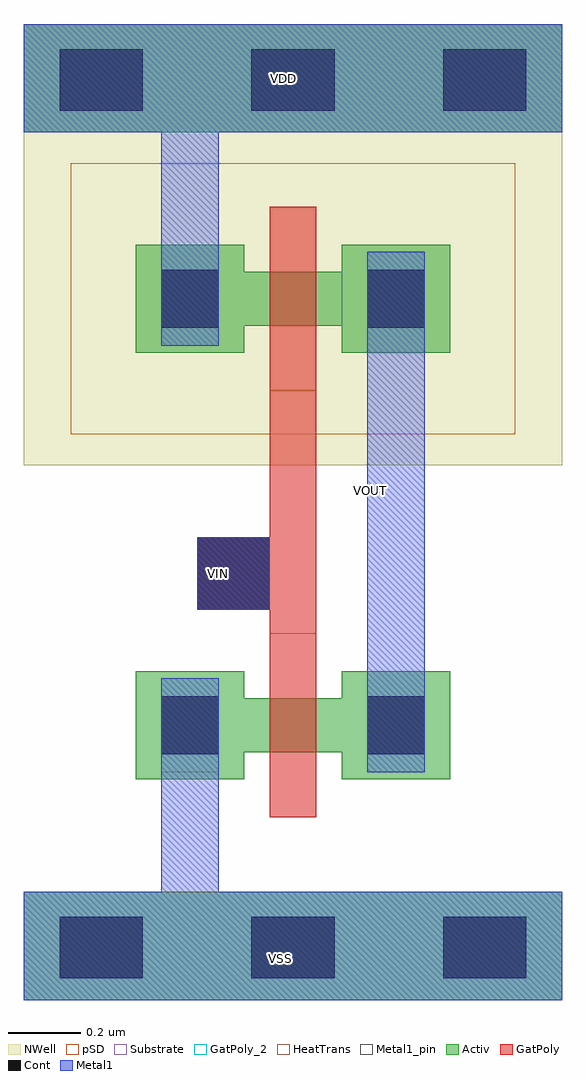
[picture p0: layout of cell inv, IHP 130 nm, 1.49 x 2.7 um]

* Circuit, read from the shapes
.subckt inv VDD VIN VOUT VSS
XM1 VOUT VIN VSS VSS sg13_lv_nmos w=0.15u l=0.13u
XM2 VOUT VIN VDD VDD sg13_lv_pmos w=0.15u l=0.13u
.ends

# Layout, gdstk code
import gdstk
lib = gdstk.Library(unit=1e-6, precision=5e-09)
def R(c, l, rs):  # rectangles x0, y0, x1, y1
    for r in rs: c.add(gdstk.rectangle(r[:2], r[2:], *l))
Activ = (1, 0)
GatPoly = (5, 0)
GatPoly_2 = (5, 2)
Cont = (6, 0)
Metal1 = (8, 0)
Metal1_pin = (8, 2)
pSD = (14, 0)
NWell = (31, 0)
Substrate = (40, 0)
HeatTrans = (51, 0)

pmos_1 = lib.new_cell('pmos$1')
R(pmos_1, Activ, [(0,0,0.3,0.3), (0.57,0,0.87,0.3), (0,0.075,0.87,0.225)])
R(pmos_1, GatPoly, [(0.37,-0.105,0.5,0.405), (0.37,-0.105,0.5,0.405)])
R(pmos_1, Cont, [(0.07,0.07,0.23,0.23), (0.64,0.07,0.8,0.23)])
R(pmos_1, Metal1, [(0.07,0.02,0.23,0.28), (0.07,0.02,0.23,0.28), (0.64,0.02,0.8,0.28), (0.64,0.02,0.8,0.28)])
R(pmos_1, pSD, [(-0.18,-0.225,1.05,0.525)])
R(pmos_1, NWell, [(-0.31,-0.31,1.18,0.61)])
R(pmos_1, Substrate, [(0.57,0,0.87,0.3)])
R(pmos_1, HeatTrans, [(0.37,-0.105,0.5,0.405)])
pmos_1.add(gdstk.Label('pmos', (0.435,0.15), layer=63, texttype=0))
pmos_1.add(gdstk.Label('pmos', (0.435,0.15), layer=51, texttype=0))

nmos = lib.new_cell('nmos')
R(nmos, Activ, [(0,0,0.3,0.3), (0.57,0,0.87,0.3), (0,0.075,0.87,0.225)])
R(nmos, GatPoly, [(0.37,-0.105,0.5,0.405)])
R(nmos, GatPoly_2, [(0.37,-0.105,0.5,0.405)])
R(nmos, Cont, [(0.07,0.07,0.23,0.23), (0.64,0.07,0.8,0.23)])
R(nmos, Metal1, [(0.07,0.02,0.23,0.28), (0.64,0.02,0.8,0.28)])
R(nmos, Metal1_pin, [(0.07,0.02,0.23,0.28), (0.64,0.02,0.8,0.28)])
R(nmos, HeatTrans, [(0.37,-0.105,0.5,0.405)])
nmos.add(gdstk.Label('nmos', (0.435,0.15), layer=63, texttype=0))
nmos.add(gdstk.Label('nmos', (0.435,0.15), layer=51, texttype=0))

pmos_1_1 = lib.new_cell('pmos$1$1')
R(pmos_1_1, Activ, [(0,0,0.3,0.3), (0.57,0,0.87,0.3), (0,0.075,0.87,0.225)])
R(pmos_1_1, GatPoly, [(0.37,-0.105,0.5,0.405), (0.37,-0.105,0.5,0.405)])
R(pmos_1_1, Cont, [(0.07,0.07,0.23,0.23), (0.64,0.07,0.8,0.23)])
R(pmos_1_1, Metal1, [(0.07,0.02,0.23,0.28), (0.07,0.02,0.23,0.28), (0.64,0.02,0.8,0.28), (0.64,0.02,0.8,0.28)])
R(pmos_1_1, pSD, [(-0.18,-0.225,1.05,0.525)])
R(pmos_1_1, NWell, [(-0.31,-0.31,1.18,0.61)])
R(pmos_1_1, Substrate, [(0.57,0,0.87,0.3)])
R(pmos_1_1, HeatTrans, [(0.37,-0.105,0.5,0.405)])
pmos_1_1.add(gdstk.Label('pmos', (0.435,0.15), layer=63, texttype=0))
pmos_1_1.add(gdstk.Label('pmos', (0.435,0.15), layer=51, texttype=0))

nmos_1 = lib.new_cell('nmos$1')
R(nmos_1, Activ, [(0,0,0.3,0.3), (0.57,0,0.87,0.3), (0,0.075,0.87,0.225)])
R(nmos_1, GatPoly, [(0.37,-0.105,0.5,0.405)])
R(nmos_1, GatPoly_2, [(0.37,-0.105,0.5,0.405)])
R(nmos_1, Cont, [(0.07,0.07,0.23,0.23), (0.64,0.07,0.8,0.23)])
R(nmos_1, Metal1, [(0.07,0.02,0.23,0.28), (0.64,0.02,0.8,0.28)])
R(nmos_1, Metal1_pin, [(0.07,0.02,0.23,0.28), (0.64,0.02,0.8,0.28)])
R(nmos_1, HeatTrans, [(0.37,-0.105,0.5,0.405)])
nmos_1.add(gdstk.Label('nmos', (0.435,0.15), layer=63, texttype=0))
nmos_1.add(gdstk.Label('nmos', (0.435,0.15), layer=51, texttype=0))

pmos_1_2 = lib.new_cell('pmos$1$2')
R(pmos_1_2, Activ, [(0,0,0.3,0.3), (0.57,0,0.87,0.3), (0,0.075,0.87,0.225)])
R(pmos_1_2, GatPoly, [(0.37,-0.105,0.5,0.405), (0.37,-0.105,0.5,0.405)])
R(pmos_1_2, Cont, [(0.07,0.07,0.23,0.23), (0.64,0.07,0.8,0.23)])
R(pmos_1_2, Metal1, [(0.07,0.02,0.23,0.28), (0.07,0.02,0.23,0.28), (0.64,0.02,0.8,0.28), (0.64,0.02,0.8,0.28)])
R(pmos_1_2, pSD, [(-0.18,-0.225,1.05,0.525)])
R(pmos_1_2, NWell, [(-0.31,-0.31,1.18,0.61)])
R(pmos_1_2, Substrate, [(0.57,0,0.87,0.3)])
R(pmos_1_2, HeatTrans, [(0.37,-0.105,0.5,0.405)])
pmos_1_2.add(gdstk.Label('pmos', (0.435,0.15), layer=63, texttype=0))
pmos_1_2.add(gdstk.Label('pmos', (0.435,0.15), layer=51, texttype=0))

nmos_2 = lib.new_cell('nmos$2')
R(nmos_2, Activ, [(0,0,0.3,0.3), (0.57,0,0.87,0.3), (0,0.075,0.87,0.225)])
R(nmos_2, GatPoly, [(0.37,-0.105,0.5,0.405)])
R(nmos_2, GatPoly_2, [(0.37,-0.105,0.5,0.405)])
R(nmos_2, Cont, [(0.07,0.07,0.23,0.23), (0.64,0.07,0.8,0.23)])
R(nmos_2, Metal1, [(0.07,0.02,0.23,0.28), (0.64,0.02,0.8,0.28)])
R(nmos_2, Metal1_pin, [(0.07,0.02,0.23,0.28), (0.64,0.02,0.8,0.28)])
R(nmos_2, HeatTrans, [(0.37,-0.105,0.5,0.405)])
nmos_2.add(gdstk.Label('nmos', (0.435,0.15), layer=63, texttype=0))
nmos_2.add(gdstk.Label('nmos', (0.435,0.15), layer=51, texttype=0))

pmos_1_1_1 = lib.new_cell('pmos$1$1$1')
R(pmos_1_1_1, Activ, [(0,0,0.3,0.3), (0.57,0,0.87,0.3), (0,0.075,0.87,0.225)])
R(pmos_1_1_1, GatPoly, [(0.37,-0.105,0.5,0.405), (0.37,-0.105,0.5,0.405)])
R(pmos_1_1_1, Cont, [(0.07,0.07,0.23,0.23), (0.64,0.07,0.8,0.23)])
R(pmos_1_1_1, Metal1, [(0.07,0.02,0.23,0.28), (0.07,0.02,0.23,0.28), (0.64,0.02,0.8,0.28), (0.64,0.02,0.8,0.28)])
R(pmos_1_1_1, pSD, [(-0.18,-0.225,1.05,0.525)])
R(pmos_1_1_1, NWell, [(-0.31,-0.31,1.18,0.61)])
R(pmos_1_1_1, Substrate, [(0.57,0,0.87,0.3)])
R(pmos_1_1_1, HeatTrans, [(0.37,-0.105,0.5,0.405)])
pmos_1_1_1.add(gdstk.Label('pmos', (0.435,0.15), layer=63, texttype=0))
pmos_1_1_1.add(gdstk.Label('pmos', (0.435,0.15), layer=51, texttype=0))

nmos_1_1 = lib.new_cell('nmos$1$1')
R(nmos_1_1, Activ, [(0,0,0.3,0.3), (0.57,0,0.87,0.3), (0,0.075,0.87,0.225)])
R(nmos_1_1, GatPoly, [(0.37,-0.105,0.5,0.405)])
R(nmos_1_1, GatPoly_2, [(0.37,-0.105,0.5,0.405)])
R(nmos_1_1, Cont, [(0.07,0.07,0.23,0.23), (0.64,0.07,0.8,0.23)])
R(nmos_1_1, Metal1, [(0.07,0.02,0.23,0.28), (0.64,0.02,0.8,0.28)])
R(nmos_1_1, Metal1_pin, [(0.07,0.02,0.23,0.28), (0.64,0.02,0.8,0.28)])
R(nmos_1_1, HeatTrans, [(0.37,-0.105,0.5,0.405)])
nmos_1_1.add(gdstk.Label('nmos', (0.435,0.15), layer=63, texttype=0))
nmos_1_1.add(gdstk.Label('nmos', (0.435,0.15), layer=51, texttype=0))

pmos_1_4 = lib.new_cell('pmos$1$4')
R(pmos_1_4, Activ, [(0,0,0.3,0.3), (0.57,0,0.87,0.3), (0,0.075,0.87,0.225)])
R(pmos_1_4, GatPoly, [(0.37,-0.105,0.5,0.405), (0.37,-0.105,0.5,0.405)])
R(pmos_1_4, Cont, [(0.07,0.07,0.23,0.23), (0.64,0.07,0.8,0.23)])
R(pmos_1_4, Metal1, [(0.07,0.02,0.23,0.28), (0.07,0.02,0.23,0.28), (0.64,0.02,0.8,0.28), (0.64,0.02,0.8,0.28)])
R(pmos_1_4, pSD, [(-0.18,-0.225,1.05,0.525)])
R(pmos_1_4, NWell, [(-0.31,-0.31,1.18,0.61)])
R(pmos_1_4, Substrate, [(0.57,0,0.87,0.3)])
R(pmos_1_4, HeatTrans, [(0.37,-0.105,0.5,0.405)])
pmos_1_4.add(gdstk.Label('pmos', (0.435,0.15), layer=63, texttype=0))
pmos_1_4.add(gdstk.Label('pmos', (0.435,0.15), layer=51, texttype=0))

nmos_4 = lib.new_cell('nmos$4')
R(nmos_4, Activ, [(0,0,0.3,0.3), (0.57,0,0.87,0.3), (0,0.075,0.87,0.225)])
R(nmos_4, GatPoly, [(0.37,-0.105,0.5,0.405)])
R(nmos_4, GatPoly_2, [(0.37,-0.105,0.5,0.405)])
R(nmos_4, Cont, [(0.07,0.07,0.23,0.23), (0.64,0.07,0.8,0.23)])
R(nmos_4, Metal1, [(0.07,0.02,0.23,0.28), (0.64,0.02,0.8,0.28)])
R(nmos_4, Metal1_pin, [(0.07,0.02,0.23,0.28), (0.64,0.02,0.8,0.28)])
R(nmos_4, HeatTrans, [(0.37,-0.105,0.5,0.405)])
nmos_4.add(gdstk.Label('nmos', (0.435,0.15), layer=63, texttype=0))
nmos_4.add(gdstk.Label('nmos', (0.435,0.15), layer=51, texttype=0))

pmos_1_1_2 = lib.new_cell('pmos$1$1$2')
R(pmos_1_1_2, Activ, [(0,0,0.3,0.3), (0.57,0,0.87,0.3), (0,0.075,0.87,0.225)])
R(pmos_1_1_2, GatPoly, [(0.37,-0.105,0.5,0.405), (0.37,-0.105,0.5,0.405)])
R(pmos_1_1_2, Cont, [(0.07,0.07,0.23,0.23), (0.64,0.07,0.8,0.23)])
R(pmos_1_1_2, Metal1, [(0.07,0.02,0.23,0.28), (0.07,0.02,0.23,0.28), (0.64,0.02,0.8,0.28), (0.64,0.02,0.8,0.28)])
R(pmos_1_1_2, pSD, [(-0.18,-0.225,1.05,0.525)])
R(pmos_1_1_2, NWell, [(-0.31,-0.31,1.18,0.61)])
R(pmos_1_1_2, Substrate, [(0.57,0,0.87,0.3)])
R(pmos_1_1_2, HeatTrans, [(0.37,-0.105,0.5,0.405)])
pmos_1_1_2.add(gdstk.Label('pmos', (0.435,0.15), layer=63, texttype=0))
pmos_1_1_2.add(gdstk.Label('pmos', (0.435,0.15), layer=51, texttype=0))

nmos_1_2 = lib.new_cell('nmos$1$2')
R(nmos_1_2, Activ, [(0,0,0.3,0.3), (0.57,0,0.87,0.3), (0,0.075,0.87,0.225)])
R(nmos_1_2, GatPoly, [(0.37,-0.105,0.5,0.405)])
R(nmos_1_2, GatPoly_2, [(0.37,-0.105,0.5,0.405)])
R(nmos_1_2, Cont, [(0.07,0.07,0.23,0.23), (0.64,0.07,0.8,0.23)])
R(nmos_1_2, Metal1, [(0.07,0.02,0.23,0.28), (0.64,0.02,0.8,0.28)])
R(nmos_1_2, Metal1_pin, [(0.07,0.02,0.23,0.28), (0.64,0.02,0.8,0.28)])
R(nmos_1_2, HeatTrans, [(0.37,-0.105,0.5,0.405)])
nmos_1_2.add(gdstk.Label('nmos', (0.435,0.15), layer=63, texttype=0))
nmos_1_2.add(gdstk.Label('nmos', (0.435,0.15), layer=51, texttype=0))

pmos_1_2_1 = lib.new_cell('pmos$1$2$1')
R(pmos_1_2_1, Activ, [(0,0,0.3,0.3), (0.57,0,0.87,0.3), (0,0.075,0.87,0.225)])
R(pmos_1_2_1, GatPoly, [(0.37,-0.105,0.5,0.405), (0.37,-0.105,0.5,0.405)])
R(pmos_1_2_1, Cont, [(0.07,0.07,0.23,0.23), (0.64,0.07,0.8,0.23)])
R(pmos_1_2_1, Metal1, [(0.07,0.02,0.23,0.28), (0.07,0.02,0.23,0.28), (0.64,0.02,0.8,0.28), (0.64,0.02,0.8,0.28)])
R(pmos_1_2_1, pSD, [(-0.18,-0.225,1.05,0.525)])
R(pmos_1_2_1, NWell, [(-0.31,-0.31,1.18,0.61)])
R(pmos_1_2_1, Substrate, [(0.57,0,0.87,0.3)])
R(pmos_1_2_1, HeatTrans, [(0.37,-0.105,0.5,0.405)])
pmos_1_2_1.add(gdstk.Label('pmos', (0.435,0.15), layer=63, texttype=0))
pmos_1_2_1.add(gdstk.Label('pmos', (0.435,0.15), layer=51, texttype=0))

nmos_2_1 = lib.new_cell('nmos$2$1')
R(nmos_2_1, Activ, [(0,0,0.3,0.3), (0.57,0,0.87,0.3), (0,0.075,0.87,0.225)])
R(nmos_2_1, GatPoly, [(0.37,-0.105,0.5,0.405)])
R(nmos_2_1, GatPoly_2, [(0.37,-0.105,0.5,0.405)])
R(nmos_2_1, Cont, [(0.07,0.07,0.23,0.23), (0.64,0.07,0.8,0.23)])
R(nmos_2_1, Metal1, [(0.07,0.02,0.23,0.28), (0.64,0.02,0.8,0.28)])
R(nmos_2_1, Metal1_pin, [(0.07,0.02,0.23,0.28), (0.64,0.02,0.8,0.28)])
R(nmos_2_1, HeatTrans, [(0.37,-0.105,0.5,0.405)])
nmos_2_1.add(gdstk.Label('nmos', (0.435,0.15), layer=63, texttype=0))
nmos_2_1.add(gdstk.Label('nmos', (0.435,0.15), layer=51, texttype=0))

pmos_1_3 = lib.new_cell('pmos$1$3')
R(pmos_1_3, Activ, [(0,0,0.3,0.3), (0.57,0,0.87,0.3), (0,0.075,0.87,0.225)])
R(pmos_1_3, GatPoly, [(0.37,-0.105,0.5,0.405), (0.37,-0.105,0.5,0.405)])
R(pmos_1_3, Cont, [(0.07,0.07,0.23,0.23), (0.64,0.07,0.8,0.23)])
R(pmos_1_3, Metal1, [(0.07,0.02,0.23,0.28), (0.07,0.02,0.23,0.28), (0.64,0.02,0.8,0.28), (0.64,0.02,0.8,0.28)])
R(pmos_1_3, pSD, [(-0.18,-0.225,1.05,0.525)])
R(pmos_1_3, NWell, [(-0.31,-0.31,1.18,0.61)])
R(pmos_1_3, Substrate, [(0.57,0,0.87,0.3)])
R(pmos_1_3, HeatTrans, [(0.37,-0.105,0.5,0.405)])
pmos_1_3.add(gdstk.Label('pmos', (0.435,0.15), layer=63, texttype=0))
pmos_1_3.add(gdstk.Label('pmos', (0.435,0.15), layer=51, texttype=0))

nmos_3 = lib.new_cell('nmos$3')
R(nmos_3, Activ, [(0,0,0.3,0.3), (0.57,0,0.87,0.3), (0,0.075,0.87,0.225)])
R(nmos_3, GatPoly, [(0.37,-0.105,0.5,0.405)])
R(nmos_3, GatPoly_2, [(0.37,-0.105,0.5,0.405)])
R(nmos_3, Cont, [(0.07,0.07,0.23,0.23), (0.64,0.07,0.8,0.23)])
R(nmos_3, Metal1, [(0.07,0.02,0.23,0.28), (0.64,0.02,0.8,0.28)])
R(nmos_3, Metal1_pin, [(0.07,0.02,0.23,0.28), (0.64,0.02,0.8,0.28)])
R(nmos_3, HeatTrans, [(0.37,-0.105,0.5,0.405)])
nmos_3.add(gdstk.Label('nmos', (0.435,0.15), layer=63, texttype=0))
nmos_3.add(gdstk.Label('nmos', (0.435,0.15), layer=51, texttype=0))

pmos_1_5 = lib.new_cell('pmos$1$5')
R(pmos_1_5, Activ, [(0,0,0.3,0.3), (0.57,0,0.87,0.3), (0,0.075,0.87,0.225)])
R(pmos_1_5, GatPoly, [(0.37,-0.105,0.5,0.405), (0.37,-0.105,0.5,0.405)])
R(pmos_1_5, Cont, [(0.07,0.07,0.23,0.23), (0.64,0.07,0.8,0.23)])
R(pmos_1_5, Metal1, [(0.07,0.02,0.23,0.28), (0.07,0.02,0.23,0.28), (0.64,0.02,0.8,0.28), (0.64,0.02,0.8,0.28)])
R(pmos_1_5, pSD, [(-0.18,-0.225,1.05,0.525)])
R(pmos_1_5, NWell, [(-0.31,-0.31,1.18,0.61)])
R(pmos_1_5, Substrate, [(0.57,0,0.87,0.3)])
R(pmos_1_5, HeatTrans, [(0.37,-0.105,0.5,0.405)])
pmos_1_5.add(gdstk.Label('pmos', (0.435,0.15), layer=63, texttype=0))
pmos_1_5.add(gdstk.Label('pmos', (0.435,0.15), layer=51, texttype=0))

nmos_1_3 = lib.new_cell('nmos$1$3')
R(nmos_1_3, Activ, [(0,0,0.3,0.3), (0.57,0,0.87,0.3), (0,0.075,0.87,0.225)])
R(nmos_1_3, GatPoly, [(0.37,-0.105,0.5,0.405)])
R(nmos_1_3, GatPoly_2, [(0.37,-0.105,0.5,0.405)])
R(nmos_1_3, Cont, [(0.07,0.07,0.23,0.23), (0.64,0.07,0.8,0.23)])
R(nmos_1_3, Metal1, [(0.07,0.02,0.23,0.28), (0.64,0.02,0.8,0.28)])
R(nmos_1_3, Metal1_pin, [(0.07,0.02,0.23,0.28), (0.64,0.02,0.8,0.28)])
R(nmos_1_3, HeatTrans, [(0.37,-0.105,0.5,0.405)])
nmos_1_3.add(gdstk.Label('nmos', (0.435,0.15), layer=63, texttype=0))
nmos_1_3.add(gdstk.Label('nmos', (0.435,0.15), layer=51, texttype=0))

pmos_1_6 = lib.new_cell('pmos$1$6')
R(pmos_1_6, Activ, [(0,0,0.3,0.3), (0.57,0,0.87,0.3), (0,0.075,0.87,0.225)])
R(pmos_1_6, GatPoly, [(0.37,-0.105,0.5,0.405), (0.37,-0.105,0.5,0.405)])
R(pmos_1_6, Cont, [(0.07,0.07,0.23,0.23), (0.64,0.07,0.8,0.23)])
R(pmos_1_6, Metal1, [(0.07,0.02,0.23,0.28), (0.07,0.02,0.23,0.28), (0.64,0.02,0.8,0.28), (0.64,0.02,0.8,0.28)])
R(pmos_1_6, pSD, [(-0.18,-0.225,1.05,0.525)])
R(pmos_1_6, NWell, [(-0.31,-0.31,1.18,0.61)])
R(pmos_1_6, Substrate, [(0.57,0,0.87,0.3)])
R(pmos_1_6, HeatTrans, [(0.37,-0.105,0.5,0.405)])
pmos_1_6.add(gdstk.Label('pmos', (0.435,0.15), layer=63, texttype=0))
pmos_1_6.add(gdstk.Label('pmos', (0.435,0.15), layer=51, texttype=0))

nmos_5 = lib.new_cell('nmos$5')
R(nmos_5, Activ, [(0,0,0.3,0.3), (0.57,0,0.87,0.3), (0,0.075,0.87,0.225)])
R(nmos_5, GatPoly, [(0.37,-0.105,0.5,0.405)])
R(nmos_5, GatPoly_2, [(0.37,-0.105,0.5,0.405)])
R(nmos_5, Cont, [(0.07,0.07,0.23,0.23), (0.64,0.07,0.8,0.23)])
R(nmos_5, Metal1, [(0.07,0.02,0.23,0.28), (0.64,0.02,0.8,0.28)])
R(nmos_5, Metal1_pin, [(0.07,0.02,0.23,0.28), (0.64,0.02,0.8,0.28)])
R(nmos_5, HeatTrans, [(0.37,-0.105,0.5,0.405)])
nmos_5.add(gdstk.Label('nmos', (0.435,0.15), layer=63, texttype=0))
nmos_5.add(gdstk.Label('nmos', (0.435,0.15), layer=51, texttype=0))

pmos_1_7 = lib.new_cell('pmos$1$7')
R(pmos_1_7, Activ, [(0,0,0.3,0.3), (0.57,0,0.87,0.3), (0,0.075,0.87,0.225)])
R(pmos_1_7, GatPoly, [(0.37,-0.105,0.5,0.405), (0.37,-0.105,0.5,0.405)])
R(pmos_1_7, Cont, [(0.07,0.07,0.23,0.23), (0.64,0.07,0.8,0.23)])
R(pmos_1_7, Metal1, [(0.07,0.02,0.23,0.28), (0.07,0.02,0.23,0.28), (0.64,0.02,0.8,0.28), (0.64,0.02,0.8,0.28)])
R(pmos_1_7, pSD, [(-0.18,-0.225,1.05,0.525)])
R(pmos_1_7, NWell, [(-0.31,-0.31,1.18,0.61)])
R(pmos_1_7, Substrate, [(0.57,0,0.87,0.3)])
R(pmos_1_7, HeatTrans, [(0.37,-0.105,0.5,0.405)])
pmos_1_7.add(gdstk.Label('pmos', (0.435,0.15), layer=63, texttype=0))
pmos_1_7.add(gdstk.Label('pmos', (0.435,0.15), layer=51, texttype=0))

nmos_6 = lib.new_cell('nmos$6')
R(nmos_6, Activ, [(0,0,0.3,0.3), (0.57,0,0.87,0.3), (0,0.075,0.87,0.225)])
R(nmos_6, GatPoly, [(0.37,-0.105,0.5,0.405)])
R(nmos_6, GatPoly_2, [(0.37,-0.105,0.5,0.405)])
R(nmos_6, Cont, [(0.07,0.07,0.23,0.23), (0.64,0.07,0.8,0.23)])
R(nmos_6, Metal1, [(0.07,0.02,0.23,0.28), (0.64,0.02,0.8,0.28)])
R(nmos_6, Metal1_pin, [(0.07,0.02,0.23,0.28), (0.64,0.02,0.8,0.28)])
R(nmos_6, HeatTrans, [(0.37,-0.105,0.5,0.405)])
nmos_6.add(gdstk.Label('nmos', (0.435,0.15), layer=63, texttype=0))
nmos_6.add(gdstk.Label('nmos', (0.435,0.15), layer=51, texttype=0))

pmos_1_1_3 = lib.new_cell('pmos$1$1$3')
R(pmos_1_1_3, Activ, [(0,0,0.3,0.3), (0.57,0,0.87,0.3), (0,0.075,0.87,0.225)])
R(pmos_1_1_3, GatPoly, [(0.37,-0.105,0.5,0.405), (0.37,-0.105,0.5,0.405)])
R(pmos_1_1_3, Cont, [(0.07,0.07,0.23,0.23), (0.64,0.07,0.8,0.23)])
R(pmos_1_1_3, Metal1, [(0.07,0.02,0.23,0.28), (0.07,0.02,0.23,0.28), (0.64,0.02,0.8,0.28), (0.64,0.02,0.8,0.28)])
R(pmos_1_1_3, pSD, [(-0.18,-0.225,1.05,0.525)])
R(pmos_1_1_3, NWell, [(-0.31,-0.31,1.18,0.61)])
R(pmos_1_1_3, Substrate, [(0.57,0,0.87,0.3)])
R(pmos_1_1_3, HeatTrans, [(0.37,-0.105,0.5,0.405)])
pmos_1_1_3.add(gdstk.Label('pmos', (0.435,0.15), layer=63, texttype=0))
pmos_1_1_3.add(gdstk.Label('pmos', (0.435,0.15), layer=51, texttype=0))

nmos_1_4 = lib.new_cell('nmos$1$4')
R(nmos_1_4, Activ, [(0,0,0.3,0.3), (0.57,0,0.87,0.3), (0,0.075,0.87,0.225)])
R(nmos_1_4, GatPoly, [(0.37,-0.105,0.5,0.405)])
R(nmos_1_4, GatPoly_2, [(0.37,-0.105,0.5,0.405)])
R(nmos_1_4, Cont, [(0.07,0.07,0.23,0.23), (0.64,0.07,0.8,0.23)])
R(nmos_1_4, Metal1, [(0.07,0.02,0.23,0.28), (0.64,0.02,0.8,0.28)])
R(nmos_1_4, Metal1_pin, [(0.07,0.02,0.23,0.28), (0.64,0.02,0.8,0.28)])
R(nmos_1_4, HeatTrans, [(0.37,-0.105,0.5,0.405)])
nmos_1_4.add(gdstk.Label('nmos', (0.435,0.15), layer=63, texttype=0))
nmos_1_4.add(gdstk.Label('nmos', (0.435,0.15), layer=51, texttype=0))

pmos_1_8 = lib.new_cell('pmos$1$8')
R(pmos_1_8, Activ, [(0,0,0.3,0.3), (0.57,0,0.87,0.3), (0,0.075,0.87,0.225)])
R(pmos_1_8, GatPoly, [(0.37,-0.105,0.5,0.405), (0.37,-0.105,0.5,0.405)])
R(pmos_1_8, Cont, [(0.07,0.07,0.23,0.23), (0.64,0.07,0.8,0.23)])
R(pmos_1_8, Metal1, [(0.07,0.02,0.23,0.28), (0.07,0.02,0.23,0.28), (0.64,0.02,0.8,0.28), (0.64,0.02,0.8,0.28)])
R(pmos_1_8, pSD, [(-0.18,-0.225,1.05,0.525)])
R(pmos_1_8, NWell, [(-0.31,-0.31,1.18,0.61)])
R(pmos_1_8, Substrate, [(0.57,0,0.87,0.3)])
R(pmos_1_8, HeatTrans, [(0.37,-0.105,0.5,0.405)])
pmos_1_8.add(gdstk.Label('pmos', (0.435,0.15), layer=63, texttype=0))
pmos_1_8.add(gdstk.Label('pmos', (0.435,0.15), layer=51, texttype=0))

nmos_7 = lib.new_cell('nmos$7')
R(nmos_7, Activ, [(0,0,0.3,0.3), (0.57,0,0.87,0.3), (0,0.075,0.87,0.225)])
R(nmos_7, GatPoly, [(0.37,-0.105,0.5,0.405)])
R(nmos_7, GatPoly_2, [(0.37,-0.105,0.5,0.405)])
R(nmos_7, Cont, [(0.07,0.07,0.23,0.23), (0.64,0.07,0.8,0.23)])
R(nmos_7, Metal1, [(0.07,0.02,0.23,0.28), (0.64,0.02,0.8,0.28)])
R(nmos_7, Metal1_pin, [(0.07,0.02,0.23,0.28), (0.64,0.02,0.8,0.28)])
R(nmos_7, HeatTrans, [(0.37,-0.105,0.5,0.405)])
nmos_7.add(gdstk.Label('nmos', (0.435,0.15), layer=63, texttype=0))
nmos_7.add(gdstk.Label('nmos', (0.435,0.15), layer=51, texttype=0))

pmos_1_1_4 = lib.new_cell('pmos$1$1$4')
R(pmos_1_1_4, Activ, [(0,0,0.3,0.3), (0.57,0,0.87,0.3), (0,0.075,0.87,0.225)])
R(pmos_1_1_4, GatPoly, [(0.37,-0.105,0.5,0.405), (0.37,-0.105,0.5,0.405)])
R(pmos_1_1_4, Cont, [(0.07,0.07,0.23,0.23), (0.64,0.07,0.8,0.23)])
R(pmos_1_1_4, Metal1, [(0.07,0.02,0.23,0.28), (0.07,0.02,0.23,0.28), (0.64,0.02,0.8,0.28), (0.64,0.02,0.8,0.28)])
R(pmos_1_1_4, pSD, [(-0.18,-0.225,1.05,0.525)])
R(pmos_1_1_4, NWell, [(-0.31,-0.31,1.18,0.61)])
R(pmos_1_1_4, Substrate, [(0.57,0,0.87,0.3)])
R(pmos_1_1_4, HeatTrans, [(0.37,-0.105,0.5,0.405)])
pmos_1_1_4.add(gdstk.Label('pmos', (0.435,0.15), layer=63, texttype=0))
pmos_1_1_4.add(gdstk.Label('pmos', (0.435,0.15), layer=51, texttype=0))

nmos_1_5 = lib.new_cell('nmos$1$5')
R(nmos_1_5, Activ, [(0,0,0.3,0.3), (0.57,0,0.87,0.3), (0,0.075,0.87,0.225)])
R(nmos_1_5, GatPoly, [(0.37,-0.105,0.5,0.405)])
R(nmos_1_5, GatPoly_2, [(0.37,-0.105,0.5,0.405)])
R(nmos_1_5, Cont, [(0.07,0.07,0.23,0.23), (0.64,0.07,0.8,0.23)])
R(nmos_1_5, Metal1, [(0.07,0.02,0.23,0.28), (0.64,0.02,0.8,0.28)])
R(nmos_1_5, Metal1_pin, [(0.07,0.02,0.23,0.28), (0.64,0.02,0.8,0.28)])
R(nmos_1_5, HeatTrans, [(0.37,-0.105,0.5,0.405)])
nmos_1_5.add(gdstk.Label('nmos', (0.435,0.15), layer=63, texttype=0))
nmos_1_5.add(gdstk.Label('nmos', (0.435,0.15), layer=51, texttype=0))

pmos_1_2_2 = lib.new_cell('pmos$1$2$2')
R(pmos_1_2_2, Activ, [(0,0,0.3,0.3), (0.57,0,0.87,0.3), (0,0.075,0.87,0.225)])
R(pmos_1_2_2, GatPoly, [(0.37,-0.105,0.5,0.405), (0.37,-0.105,0.5,0.405)])
R(pmos_1_2_2, Cont, [(0.07,0.07,0.23,0.23), (0.64,0.07,0.8,0.23)])
R(pmos_1_2_2, Metal1, [(0.07,0.02,0.23,0.28), (0.07,0.02,0.23,0.28), (0.64,0.02,0.8,0.28), (0.64,0.02,0.8,0.28)])
R(pmos_1_2_2, pSD, [(-0.18,-0.225,1.05,0.525)])
R(pmos_1_2_2, NWell, [(-0.31,-0.31,1.18,0.61)])
R(pmos_1_2_2, Substrate, [(0.57,0,0.87,0.3)])
R(pmos_1_2_2, HeatTrans, [(0.37,-0.105,0.5,0.405)])
pmos_1_2_2.add(gdstk.Label('pmos', (0.435,0.15), layer=63, texttype=0))
pmos_1_2_2.add(gdstk.Label('pmos', (0.435,0.15), layer=51, texttype=0))

nmos_2_2 = lib.new_cell('nmos$2$2')
R(nmos_2_2, Activ, [(0,0,0.3,0.3), (0.57,0,0.87,0.3), (0,0.075,0.87,0.225)])
R(nmos_2_2, GatPoly, [(0.37,-0.105,0.5,0.405)])
R(nmos_2_2, GatPoly_2, [(0.37,-0.105,0.5,0.405)])
R(nmos_2_2, Cont, [(0.07,0.07,0.23,0.23), (0.64,0.07,0.8,0.23)])
R(nmos_2_2, Metal1, [(0.07,0.02,0.23,0.28), (0.64,0.02,0.8,0.28)])
R(nmos_2_2, Metal1_pin, [(0.07,0.02,0.23,0.28), (0.64,0.02,0.8,0.28)])
R(nmos_2_2, HeatTrans, [(0.37,-0.105,0.5,0.405)])
nmos_2_2.add(gdstk.Label('nmos', (0.435,0.15), layer=63, texttype=0))
nmos_2_2.add(gdstk.Label('nmos', (0.435,0.15), layer=51, texttype=0))

pmos_1_3_1 = lib.new_cell('pmos$1$3$1')
R(pmos_1_3_1, Activ, [(0,0,0.3,0.3), (0.57,0,0.87,0.3), (0,0.075,0.87,0.225)])
R(pmos_1_3_1, GatPoly, [(0.37,-0.105,0.5,0.405), (0.37,-0.105,0.5,0.405)])
R(pmos_1_3_1, Cont, [(0.07,0.07,0.23,0.23), (0.64,0.07,0.8,0.23)])
R(pmos_1_3_1, Metal1, [(0.07,0.02,0.23,0.28), (0.07,0.02,0.23,0.28), (0.64,0.02,0.8,0.28), (0.64,0.02,0.8,0.28)])
R(pmos_1_3_1, pSD, [(-0.18,-0.225,1.05,0.525)])
R(pmos_1_3_1, NWell, [(-0.31,-0.31,1.18,0.61)])
R(pmos_1_3_1, Substrate, [(0.57,0,0.87,0.3)])
R(pmos_1_3_1, HeatTrans, [(0.37,-0.105,0.5,0.405)])
pmos_1_3_1.add(gdstk.Label('pmos', (0.435,0.15), layer=63, texttype=0))
pmos_1_3_1.add(gdstk.Label('pmos', (0.435,0.15), layer=51, texttype=0))

nmos_3_1 = lib.new_cell('nmos$3$1')
R(nmos_3_1, Activ, [(0,0,0.3,0.3), (0.57,0,0.87,0.3), (0,0.075,0.87,0.225)])
R(nmos_3_1, GatPoly, [(0.37,-0.105,0.5,0.405)])
R(nmos_3_1, GatPoly_2, [(0.37,-0.105,0.5,0.405)])
R(nmos_3_1, Cont, [(0.07,0.07,0.23,0.23), (0.64,0.07,0.8,0.23)])
R(nmos_3_1, Metal1, [(0.07,0.02,0.23,0.28), (0.64,0.02,0.8,0.28)])
R(nmos_3_1, Metal1_pin, [(0.07,0.02,0.23,0.28), (0.64,0.02,0.8,0.28)])
R(nmos_3_1, HeatTrans, [(0.37,-0.105,0.5,0.405)])
nmos_3_1.add(gdstk.Label('nmos', (0.435,0.15), layer=63, texttype=0))
nmos_3_1.add(gdstk.Label('nmos', (0.435,0.15), layer=51, texttype=0))

inv = lib.new_cell('inv')
R(inv, Activ, [(0.24,0.255,1.73,0.555), (0.24,0.255,1.73,0.555), (0.24,0.255,1.73,0.555), (0.24,0.255,1.73,0.555), (0.24,0.255,1.73,0.555), (0.24,0.255,1.73,0.555), (0.24,0.255,1.73,0.555), (0.24,0.255,1.73,0.555), (0.24,0.255,1.73,0.555), (0.24,0.255,1.73,0.555), (0.24,0.255,1.73,0.555), (0.24,0.255,1.73,0.555), (0.24,0.255,1.73,0.555), (0.24,0.255,1.73,0.555), (0.24,0.255,1.73,0.555), (0.24,0.255,1.73,0.555), (0.24,2.655,1.73,2.955), (0.24,2.655,1.73,2.955), (0.24,2.655,1.73,2.955), (0.24,2.655,1.73,2.955), (0.24,2.655,1.73,2.955), (0.24,2.655,1.73,2.955), (0.24,2.655,1.73,2.955), (0.24,2.655,1.73,2.955), (0.24,2.655,1.73,2.955), (0.24,2.655,1.73,2.955), (0.24,2.655,1.73,2.955), (0.24,2.655,1.73,2.955), (0.24,2.655,1.73,2.955), (0.24,2.655,1.73,2.955), (0.24,2.655,1.73,2.955), (0.24,2.655,1.73,2.955)])
R(inv, GatPoly, [(0.92,0.76,1.05,2.45), (0.92,0.76,1.05,2.45), (0.92,0.76,1.05,2.45), (0.92,0.76,1.05,2.45), (0.92,0.76,1.05,2.45), (0.92,0.76,1.05,2.45), (0.92,0.76,1.05,2.45), (0.92,0.76,1.05,2.45), (0.92,0.76,1.05,2.45), (0.92,0.76,1.05,2.45), (0.92,0.76,1.05,2.45), (0.92,0.76,1.05,2.45), (0.92,0.76,1.05,2.45), (0.92,0.76,1.05,2.45), (0.92,0.76,1.05,2.45), (0.92,0.76,1.05,2.45), (0.72,1.335,0.92,1.535), (0.72,1.335,0.92,1.535), (0.72,1.335,0.92,1.535), (0.72,1.335,0.92,1.535), (0.72,1.335,0.92,1.535), (0.72,1.335,0.92,1.535), (0.72,1.335,0.92,1.535), (0.72,1.335,0.92,1.535), (0.72,1.335,0.92,1.535), (0.72,1.335,0.92,1.535), (0.72,1.335,0.92,1.535), (0.72,1.335,0.92,1.535), (0.72,1.335,0.92,1.535), (0.72,1.335,0.92,1.535), (0.72,1.335,0.92,1.535), (0.72,1.335,0.92,1.535)])
R(inv, Cont, [(0.34,0.315,0.57,0.485), (0.34,0.315,0.57,0.485), (0.34,0.315,0.57,0.485), (0.34,0.315,0.57,0.485), (0.34,0.315,0.57,0.485), (0.34,0.315,0.57,0.485), (0.34,0.315,0.57,0.485), (0.34,0.315,0.57,0.485), (0.34,0.315,0.57,0.485), (0.34,0.315,0.57,0.485), (0.34,0.315,0.57,0.485), (0.34,0.315,0.57,0.485), (0.34,0.315,0.57,0.485), (0.34,0.315,0.57,0.485), (0.34,0.315,0.57,0.485), (0.34,0.315,0.57,0.485), (0.87,0.315,1.1,0.485), (0.87,0.315,1.1,0.485), (0.87,0.315,1.1,0.485), (0.87,0.315,1.1,0.485), (0.87,0.315,1.1,0.485), (0.87,0.315,1.1,0.485), (0.87,0.315,1.1,0.485), (0.87,0.315,1.1,0.485), (0.87,0.315,1.1,0.485), (0.87,0.315,1.1,0.485), (0.87,0.315,1.1,0.485), (0.87,0.315,1.1,0.485), (0.87,0.315,1.1,0.485), (0.87,0.315,1.1,0.485), (0.87,0.315,1.1,0.485), (0.87,0.315,1.1,0.485), (1.4,0.315,1.63,0.485), (1.4,0.315,1.63,0.485), (1.4,0.315,1.63,0.485), (1.4,0.315,1.63,0.485), (1.4,0.315,1.63,0.485), (1.4,0.315,1.63,0.485), (1.4,0.315,1.63,0.485), (1.4,0.315,1.63,0.485), (1.4,0.315,1.63,0.485), (1.4,0.315,1.63,0.485), (1.4,0.315,1.63,0.485), (1.4,0.315,1.63,0.485), (1.4,0.315,1.63,0.485), (1.4,0.315,1.63,0.485), (1.4,0.315,1.63,0.485), (1.4,0.315,1.63,0.485), (0.72,1.335,0.92,1.535), (0.72,1.335,0.92,1.535), (0.72,1.335,0.92,1.535), (0.72,1.335,0.92,1.535), (0.72,1.335,0.92,1.535), (0.72,1.335,0.92,1.535), (0.72,1.335,0.92,1.535), (0.72,1.335,0.92,1.535), (0.72,1.335,0.92,1.535), (0.72,1.335,0.92,1.535), (0.72,1.335,0.92,1.535), (0.72,1.335,0.92,1.535), (0.72,1.335,0.92,1.535), (0.72,1.335,0.92,1.535), (0.72,1.335,0.92,1.535), (0.72,1.335,0.92,1.535), (0.34,2.715,0.57,2.885), (0.34,2.715,0.57,2.885), (0.34,2.715,0.57,2.885), (0.34,2.715,0.57,2.885), (0.34,2.715,0.57,2.885), (0.34,2.715,0.57,2.885), (0.34,2.715,0.57,2.885), (0.34,2.715,0.57,2.885), (0.34,2.715,0.57,2.885), (0.34,2.715,0.57,2.885), (0.34,2.715,0.57,2.885), (0.34,2.715,0.57,2.885), (0.34,2.715,0.57,2.885), (0.34,2.715,0.57,2.885), (0.34,2.715,0.57,2.885), (0.34,2.715,0.57,2.885), (0.87,2.715,1.1,2.885), (0.87,2.715,1.1,2.885), (0.87,2.715,1.1,2.885), (0.87,2.715,1.1,2.885), (0.87,2.715,1.1,2.885), (0.87,2.715,1.1,2.885), (0.87,2.715,1.1,2.885), (0.87,2.715,1.1,2.885), (0.87,2.715,1.1,2.885), (0.87,2.715,1.1,2.885), (0.87,2.715,1.1,2.885), (0.87,2.715,1.1,2.885), (0.87,2.715,1.1,2.885), (0.87,2.715,1.1,2.885), (0.87,2.715,1.1,2.885), (0.87,2.715,1.1,2.885), (1.4,2.715,1.63,2.885), (1.4,2.715,1.63,2.885), (1.4,2.715,1.63,2.885), (1.4,2.715,1.63,2.885), (1.4,2.715,1.63,2.885), (1.4,2.715,1.63,2.885), (1.4,2.715,1.63,2.885), (1.4,2.715,1.63,2.885), (1.4,2.715,1.63,2.885), (1.4,2.715,1.63,2.885), (1.4,2.715,1.63,2.885), (1.4,2.715,1.63,2.885), (1.4,2.715,1.63,2.885), (1.4,2.715,1.63,2.885), (1.4,2.715,1.63,2.885), (1.4,2.715,1.63,2.885)])
R(inv, Metal1, [(0.24,0.255,1.73,0.555), (0.24,0.255,1.73,0.555), (0.24,0.255,1.73,0.555), (0.24,0.255,1.73,0.555), (0.24,0.255,1.73,0.555), (0.24,0.255,1.73,0.555), (0.24,0.255,1.73,0.555), (0.24,0.255,1.73,0.555), (0.24,0.255,1.73,0.555), (0.24,0.255,1.73,0.555), (0.24,0.255,1.73,0.555), (0.24,0.255,1.73,0.555), (0.24,0.255,1.73,0.555), (0.24,0.255,1.73,0.555), (0.24,0.255,1.73,0.555), (0.24,0.255,1.73,0.555), (0.62,0.255,0.78,1.145), (0.62,0.255,0.78,1.145), (0.62,0.255,0.78,1.145), (0.62,0.255,0.78,1.145), (0.62,0.255,0.78,1.145), (0.62,0.255,0.78,1.145), (0.62,0.255,0.78,1.145), (0.62,0.255,0.78,1.145), (0.62,0.255,0.78,1.145), (0.62,0.255,0.78,1.145), (0.62,0.255,0.78,1.145), (0.62,0.255,0.78,1.145), (0.62,0.255,0.78,1.145), (0.62,0.255,0.78,1.145), (0.62,0.255,0.78,1.145), (0.62,0.255,0.78,1.145), (1.19,0.885,1.35,2.325), (1.19,0.885,1.35,2.325), (1.19,0.885,1.35,2.325), (1.19,0.885,1.35,2.325), (1.19,0.885,1.35,2.325), (1.19,0.885,1.35,2.325), (1.19,0.885,1.35,2.325), (1.19,0.885,1.35,2.325), (1.19,0.885,1.35,2.325), (1.19,0.885,1.35,2.325), (1.19,0.885,1.35,2.325), (1.19,0.885,1.35,2.325), (1.19,0.885,1.35,2.325), (1.19,0.885,1.35,2.325), (1.19,0.885,1.35,2.325), (1.19,0.885,1.35,2.325), (0.72,1.335,0.92,1.535), (0.72,1.335,0.92,1.535), (0.72,1.335,0.92,1.535), (0.72,1.335,0.92,1.535), (0.72,1.335,0.92,1.535), (0.72,1.335,0.92,1.535), (0.72,1.335,0.92,1.535), (0.72,1.335,0.92,1.535), (0.72,1.335,0.92,1.535), (0.72,1.335,0.92,1.535), (0.72,1.335,0.92,1.535), (0.72,1.335,0.92,1.535), (0.72,1.335,0.92,1.535), (0.72,1.335,0.92,1.535), (0.72,1.335,0.92,1.535), (0.72,1.335,0.92,1.535), (0.62,2.065,0.78,2.955), (0.62,2.065,0.78,2.955), (0.62,2.065,0.78,2.955), (0.62,2.065,0.78,2.955), (0.62,2.065,0.78,2.955), (0.62,2.065,0.78,2.955), (0.62,2.065,0.78,2.955), (0.62,2.065,0.78,2.955), (0.62,2.065,0.78,2.955), (0.62,2.065,0.78,2.955), (0.62,2.065,0.78,2.955), (0.62,2.065,0.78,2.955), (0.62,2.065,0.78,2.955), (0.62,2.065,0.78,2.955), (0.62,2.065,0.78,2.955), (0.62,2.065,0.78,2.955), (0.24,2.655,1.73,2.955), (0.24,2.655,1.73,2.955), (0.24,2.655,1.73,2.955), (0.24,2.655,1.73,2.955), (0.24,2.655,1.73,2.955), (0.24,2.655,1.73,2.955), (0.24,2.655,1.73,2.955), (0.24,2.655,1.73,2.955), (0.24,2.655,1.73,2.955), (0.24,2.655,1.73,2.955), (0.24,2.655,1.73,2.955), (0.24,2.655,1.73,2.955), (0.24,2.655,1.73,2.955), (0.24,2.655,1.73,2.955), (0.24,2.655,1.73,2.955), (0.24,2.655,1.73,2.955)])
R(inv, Metal1_pin, [(0.24,0.255,1.73,0.555), (0.24,0.255,1.73,0.555), (0.24,0.255,1.73,0.555), (0.24,0.255,1.73,0.555), (0.24,0.255,1.73,0.555), (0.24,0.255,1.73,0.555), (0.24,0.255,1.73,0.555), (0.24,0.255,1.73,0.555), (0.24,0.255,1.73,0.555), (0.24,0.255,1.73,0.555), (0.24,0.255,1.73,0.555), (0.24,0.255,1.73,0.555), (0.24,0.255,1.73,0.555), (0.24,0.255,1.73,0.555), (0.24,0.255,1.73,0.555), (0.24,0.255,1.73,0.555), (1.19,0.885,1.35,2.325), (1.19,0.885,1.35,2.325), (1.19,0.885,1.35,2.325), (1.19,0.885,1.35,2.325), (1.19,0.885,1.35,2.325), (1.19,0.885,1.35,2.325), (1.19,0.885,1.35,2.325), (1.19,0.885,1.35,2.325), (1.19,0.885,1.35,2.325), (1.19,0.885,1.35,2.325), (1.19,0.885,1.35,2.325), (1.19,0.885,1.35,2.325), (1.19,0.885,1.35,2.325), (1.19,0.885,1.35,2.325), (1.19,0.885,1.35,2.325), (1.19,0.885,1.35,2.325), (0.72,1.335,0.92,1.535), (0.72,1.335,0.92,1.535), (0.72,1.335,0.92,1.535), (0.72,1.335,0.92,1.535), (0.72,1.335,0.92,1.535), (0.72,1.335,0.92,1.535), (0.72,1.335,0.92,1.535), (0.72,1.335,0.92,1.535), (0.72,1.335,0.92,1.535), (0.72,1.335,0.92,1.535), (0.72,1.335,0.92,1.535), (0.72,1.335,0.92,1.535), (0.72,1.335,0.92,1.535), (0.72,1.335,0.92,1.535), (0.72,1.335,0.92,1.535), (0.72,1.335,0.92,1.535), (0.24,2.655,1.73,2.955), (0.24,2.655,1.73,2.955), (0.24,2.655,1.73,2.955), (0.24,2.655,1.73,2.955), (0.24,2.655,1.73,2.955), (0.24,2.655,1.73,2.955), (0.24,2.655,1.73,2.955), (0.24,2.655,1.73,2.955), (0.24,2.655,1.73,2.955), (0.24,2.655,1.73,2.955), (0.24,2.655,1.73,2.955), (0.24,2.655,1.73,2.955), (0.24,2.655,1.73,2.955), (0.24,2.655,1.73,2.955), (0.24,2.655,1.73,2.955), (0.24,2.655,1.73,2.955)])
R(inv, pSD, [(0.24,0.255,1.73,0.555), (0.24,0.255,1.73,0.555), (0.24,0.255,1.73,0.555), (0.24,0.255,1.73,0.555), (0.24,0.255,1.73,0.555), (0.24,0.255,1.73,0.555), (0.24,0.255,1.73,0.555), (0.24,0.255,1.73,0.555), (0.24,0.255,1.73,0.555), (0.24,0.255,1.73,0.555), (0.24,0.255,1.73,0.555), (0.24,0.255,1.73,0.555), (0.24,0.255,1.73,0.555), (0.24,0.255,1.73,0.555), (0.24,0.255,1.73,0.555), (0.24,0.255,1.73,0.555)])
R(inv, NWell, [(0.24,2.655,1.73,2.955), (0.24,2.655,1.73,2.955), (0.24,2.655,1.73,2.955), (0.24,2.655,1.73,2.955), (0.24,2.655,1.73,2.955), (0.24,2.655,1.73,2.955), (0.24,2.655,1.73,2.955), (0.24,2.655,1.73,2.955), (0.24,2.655,1.73,2.955), (0.24,2.655,1.73,2.955), (0.24,2.655,1.73,2.955), (0.24,2.655,1.73,2.955), (0.24,2.655,1.73,2.955), (0.24,2.655,1.73,2.955), (0.24,2.655,1.73,2.955), (0.24,2.655,1.73,2.955)])
inv.add(gdstk.Reference(pmos_1, (0.55,2.045)))
inv.add(gdstk.Reference(nmos, (0.55,0.865)))
inv.add(gdstk.Reference(pmos_1_1, (0.55,2.045)))
inv.add(gdstk.Reference(nmos_1, (0.55,0.865)))
inv.add(gdstk.Reference(pmos_1_2, (0.55,2.045)))
inv.add(gdstk.Reference(nmos_2, (0.55,0.865)))
inv.add(gdstk.Reference(pmos_1_1_1, (0.55,2.045)))
inv.add(gdstk.Reference(nmos_1_1, (0.55,0.865)))
inv.add(gdstk.Reference(pmos_1_4, (0.55,2.045)))
inv.add(gdstk.Reference(nmos_4, (0.55,0.865)))
inv.add(gdstk.Reference(pmos_1_1_2, (0.55,2.045)))
inv.add(gdstk.Reference(nmos_1_2, (0.55,0.865)))
inv.add(gdstk.Reference(pmos_1_2_1, (0.55,2.045)))
inv.add(gdstk.Reference(nmos_2_1, (0.55,0.865)))
inv.add(gdstk.Reference(pmos_1_3, (0.55,2.045)))
inv.add(gdstk.Reference(nmos_3, (0.55,0.865)))
inv.add(gdstk.Reference(pmos_1_5, (0.55,2.045)))
inv.add(gdstk.Reference(nmos_1_3, (0.55,0.865)))
inv.add(gdstk.Reference(pmos_1_6, (0.55,2.045)))
inv.add(gdstk.Reference(nmos_5, (0.55,0.865)))
inv.add(gdstk.Reference(pmos_1_7, (0.55,2.045)))
inv.add(gdstk.Reference(nmos_6, (0.55,0.865)))
inv.add(gdstk.Reference(pmos_1_1_3, (0.55,2.045)))
inv.add(gdstk.Reference(nmos_1_4, (0.55,0.865)))
inv.add(gdstk.Reference(pmos_1_8, (0.55,2.045)))
inv.add(gdstk.Reference(nmos_7, (0.55,0.865)))
inv.add(gdstk.Reference(pmos_1_1_4, (0.55,2.045)))
inv.add(gdstk.Reference(nmos_1_5, (0.55,0.865)))
inv.add(gdstk.Reference(pmos_1_2_2, (0.55,2.045)))
inv.add(gdstk.Reference(nmos_2_2, (0.55,0.865)))
inv.add(gdstk.Reference(pmos_1_3_1, (0.55,2.045)))
inv.add(gdstk.Reference(nmos_3_1, (0.55,0.865)))
inv.add(gdstk.Label('VIN', (0.78,1.435), layer=8, texttype=25))
inv.add(gdstk.Label('VSS', (0.95,0.37), layer=8, texttype=25))
inv.add(gdstk.Label('VOUT', (1.2,1.665), layer=8, texttype=25))
inv.add(gdstk.Label('VDD', (0.96,2.805), layer=8, texttype=25))
inv.add(gdstk.Label('VIN', (0.78,1.435), layer=8, texttype=25))
inv.add(gdstk.Label('VSS', (0.95,0.37), layer=8, texttype=25))
inv.add(gdstk.Label('VOUT', (1.2,1.665), layer=8, texttype=25))
inv.add(gdstk.Label('VDD', (0.96,2.805), layer=8, texttype=25))
inv.add(gdstk.Label('VIN', (0.78,1.435), layer=8, texttype=25))
inv.add(gdstk.Label('VSS', (0.95,0.37), layer=8, texttype=25))
inv.add(gdstk.Label('VOUT', (1.2,1.665), layer=8, texttype=25))
inv.add(gdstk.Label('VDD', (0.96,2.805), layer=8, texttype=25))
inv.add(gdstk.Label('VIN', (0.78,1.435), layer=8, texttype=25))
inv.add(gdstk.Label('VSS', (0.95,0.37), layer=8, texttype=25))
inv.add(gdstk.Label('VOUT', (1.2,1.665), layer=8, texttype=25))
inv.add(gdstk.Label('VDD', (0.96,2.805), layer=8, texttype=25))
inv.add(gdstk.Label('VIN', (0.78,1.435), layer=8, texttype=25))
inv.add(gdstk.Label('VSS', (0.95,0.37), layer=8, texttype=25))
inv.add(gdstk.Label('VOUT', (1.2,1.665), layer=8, texttype=25))
inv.add(gdstk.Label('VDD', (0.96,2.805), layer=8, texttype=25))
inv.add(gdstk.Label('VIN', (0.78,1.435), layer=8, texttype=25))
inv.add(gdstk.Label('VSS', (0.95,0.37), layer=8, texttype=25))
inv.add(gdstk.Label('VOUT', (1.2,1.665), layer=8, texttype=25))
inv.add(gdstk.Label('VDD', (0.96,2.805), layer=8, texttype=25))
inv.add(gdstk.Label('VIN', (0.78,1.435), layer=8, texttype=25))
inv.add(gdstk.Label('VSS', (0.95,0.37), layer=8, texttype=25))
inv.add(gdstk.Label('VOUT', (1.2,1.665), layer=8, texttype=25))
inv.add(gdstk.Label('VDD', (0.96,2.805), layer=8, texttype=25))
inv.add(gdstk.Label('VIN', (0.78,1.435), layer=8, texttype=25))
inv.add(gdstk.Label('VSS', (0.95,0.37), layer=8, texttype=25))
inv.add(gdstk.Label('VOUT', (1.2,1.665), layer=8, texttype=25))
inv.add(gdstk.Label('VDD', (0.96,2.805), layer=8, texttype=25))
inv.add(gdstk.Label('VIN', (0.78,1.435), layer=8, texttype=25))
inv.add(gdstk.Label('VSS', (0.95,0.37), layer=8, texttype=25))
inv.add(gdstk.Label('VOUT', (1.2,1.665), layer=8, texttype=25))
inv.add(gdstk.Label('VDD', (0.96,2.805), layer=8, texttype=25))
inv.add(gdstk.Label('VIN', (0.78,1.435), layer=8, texttype=25))
inv.add(gdstk.Label('VSS', (0.95,0.37), layer=8, texttype=25))
inv.add(gdstk.Label('VOUT', (1.2,1.665), layer=8, texttype=25))
inv.add(gdstk.Label('VDD', (0.96,2.805), layer=8, texttype=25))
inv.add(gdstk.Label('VIN', (0.78,1.435), layer=8, texttype=25))
inv.add(gdstk.Label('VSS', (0.95,0.37), layer=8, texttype=25))
inv.add(gdstk.Label('VOUT', (1.2,1.665), layer=8, texttype=25))
inv.add(gdstk.Label('VDD', (0.96,2.805), layer=8, texttype=25))
inv.add(gdstk.Label('VIN', (0.78,1.435), layer=8, texttype=25))
inv.add(gdstk.Label('VSS', (0.95,0.37), layer=8, texttype=25))
inv.add(gdstk.Label('VOUT', (1.2,1.665), layer=8, texttype=25))
inv.add(gdstk.Label('VDD', (0.96,2.805), layer=8, texttype=25))
inv.add(gdstk.Label('VIN', (0.78,1.435), layer=8, texttype=25))
inv.add(gdstk.Label('VSS', (0.95,0.37), layer=8, texttype=25))
inv.add(gdstk.Label('VOUT', (1.2,1.665), layer=8, texttype=25))
inv.add(gdstk.Label('VDD', (0.96,2.805), layer=8, texttype=25))
inv.add(gdstk.Label('VIN', (0.78,1.435), layer=8, texttype=25))
inv.add(gdstk.Label('VSS', (0.95,0.37), layer=8, texttype=25))
inv.add(gdstk.Label('VOUT', (1.2,1.665), layer=8, texttype=25))
inv.add(gdstk.Label('VDD', (0.96,2.805), layer=8, texttype=25))
inv.add(gdstk.Label('VIN', (0.78,1.435), layer=8, texttype=25))
inv.add(gdstk.Label('VSS', (0.95,0.37), layer=8, texttype=25))
inv.add(gdstk.Label('VOUT', (1.2,1.665), layer=8, texttype=25))
inv.add(gdstk.Label('VDD', (0.96,2.805), layer=8, texttype=25))
inv.add(gdstk.Label('VIN', (0.78,1.435), layer=8, texttype=25))
inv.add(gdstk.Label('VSS', (0.95,0.37), layer=8, texttype=25))
inv.add(gdstk.Label('VOUT', (1.2,1.665), layer=8, texttype=25))
inv.add(gdstk.Label('VDD', (0.96,2.805), layer=8, texttype=25))

lib.write_gds('inv.gds')
